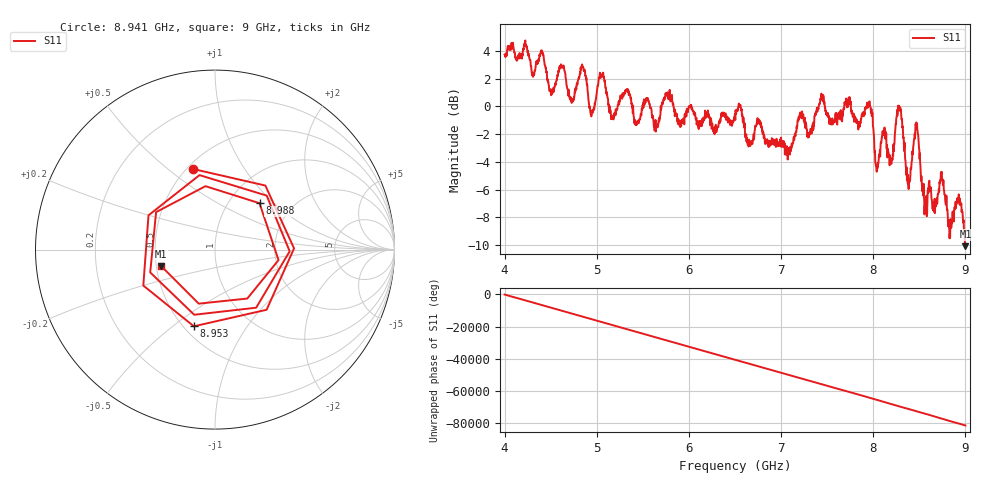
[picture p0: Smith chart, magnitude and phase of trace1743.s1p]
! Created with skrf 1.8.0 (http://scikit-rf.org).
# Hz S RI R 50.0
!freq ReS11 ImS11
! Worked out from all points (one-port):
!   1601 points, 4 GHz to 9 GHz, reference 50 ohm
!   lowest |S11| = -10.1 dB at 9 GHz (marker M1), VSWR 1.91, Z = 26.6 - j5.41 ohm
!   |S11| at or under -10 dB: 8.996575 GHz to end of sweep
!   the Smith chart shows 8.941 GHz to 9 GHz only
!   S11 on the Smith chart (normalised r, x): 8.941 GHz: 0.54, +0.62; 8.953 GHz: 0.56, -0.60; 8.988 GHz: 1.38, +0.82; 9 GHz: 0.53, -0.11
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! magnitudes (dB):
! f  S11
! 4 GHz  3.7
! 4.403 GHz  4.0
! 4.509 GHz  1.0
! 4.625 GHz  2.9
! 4.728 GHz  0.3
! 4.85 GHz  2.9
! 4.944 GHz  -0.6
! 5.047 GHz  2.3
! 5.159 GHz  -0.7
! 5.25 GHz  0.4
! 5.875 GHz  -1.1
! 6.5 GHz  -0.6
! 7.125 GHz  -2.7
! 7.438 GHz  0.9
! 7.75 GHz  0.4
! 7.966 GHz  0.0
! 8.044 GHz  -4.5
! 8.116 GHz  -2.1
! 8.197 GHz  -4.1
! 8.284 GHz  -0.3
! 8.375 GHz  -5.6
! 8.466 GHz  -1.2
! 8.559 GHz  -7.2
! 8.834 GHz  -9.5
! 8.941 GHz  -6.7
! 8.953 GHz  -7.1
! 8.988 GHz  -8.9
! 9 GHz  -10.1
